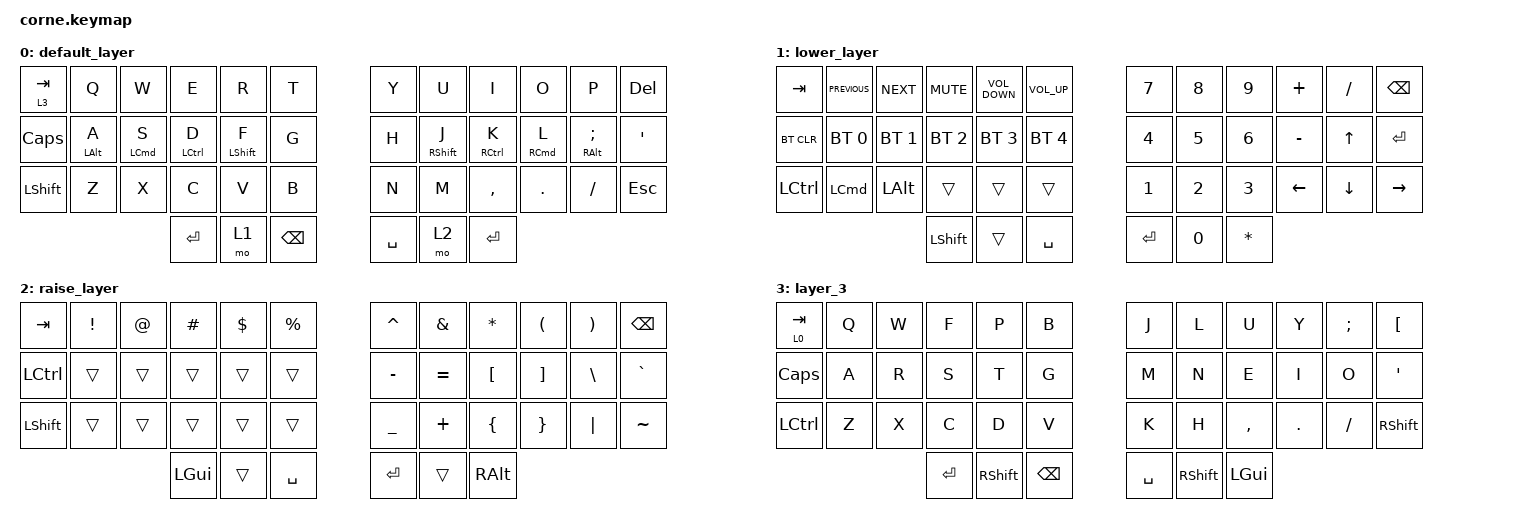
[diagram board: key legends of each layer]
/*
 * Copyright (c) 2020 The ZMK Contributors
 *
 * SPDX-License-Identifier: MIT
 */

#include <behaviors.dtsi>
#include <dt-bindings/zmk/bt.h>
#include <dt-bindings/zmk/keys.h>

/ {
    behaviors {
        hml: hml {
            compatible = "zmk,behavior-hold-tap";
            label = "HML";
            bindings = <&kp>, <&kp>;

            #binding-cells = <2>;
            tapping-term-ms = <200>;
            flavor = "balanced";
        };

        LayerHold: LayerHold {
            compatible = "zmk,behavior-hold-tap";
            label = "LAYERHOLD";
            bindings = <&to>, <&kp>;

            #binding-cells = <2>;
            tapping-term-ms = <200>;
            flavor = "tap-preferred";
        };
    };

    keymap {
        compatible = "zmk,keymap";

        default_layer {
            // -----------------------------------------------------------------------------------------
            // |  TAB |  Q  |  W  |  E  |  R  |  T  |   |  Y  |  U   |  I  |  O  |  P  | BKSP |
            // | CTRL |  A  |  S  |  D  |  F  |  G  |   |  H  |  J   |  K  |  L  |  ;  |  '   |
            // | SHFT |  Z  |  X  |  C  |  V  |  B  |   |  N  |  M   |  ,  |  .  |  /  | ESC  |
            //                    | GUI | LWR | SPC |   | ENT | RSE  | ALT |

            bindings = <
&LayerHold 3 TAB  &kp Q            &kp W                &kp E                &kp R              &kp T            &kp Y      &kp U          &kp I                 &kp O                 &kp P                     &kp DELETE
&kp CAPSLOCK      &hml LEFT_ALT A  &hml LEFT_COMMAND S  &hml LEFT_CONTROL D  &hml LEFT_SHIFT F  &kp G            &kp H      &hml RSHIFT J  &hml RIGHT_CONTROL K  &hml RIGHT_COMMAND L  &hml RIGHT_ALT SEMICOLON  &kp SQT
&kp LSHFT         &kp Z            &kp X                &kp C                &kp V              &kp B            &kp N      &kp M          &kp COMMA             &kp DOT               &kp FSLH                  &kp ESC
                                                        &kp ENTER            &mo 1              &kp BACKSPACE    &kp SPACE  &mo 2          &kp ENTER
            >;
        };

        lower_layer {
            // -----------------------------------------------------------------------------------------
            // |  TAB |  1  |  2  |  3  |  4  |  5  |   |  6  |  7  |  8  |  9  |  0  | BKSP |
            // | BTCLR| BT1 | BT2 | BT3 | BT4 | BT5 |   | LFT | DWN |  UP | RGT |     |      |
            // | SHFT |     |     |     |     |     |   |     |     |     |     |     |      |
            //                    | GUI |     | SPC |   | ENT |     | ALT |

            bindings = <
&kp TAB           &kp K_PREVIOUS    &kp K_NEXT    &kp K_MUTE      &kp C_VOLUME_DOWN  &kp C_VOLUME_UP    &kp N7        &kp N8        &kp N9        &kp PLUS   &kp SLASH     &kp BSPC
&bt BT_CLR        &bt BT_SEL 0      &bt BT_SEL 1  &bt BT_SEL 2    &bt BT_SEL 3       &bt BT_SEL 4       &kp NUMBER_4  &kp N5        &kp NUMBER_6  &kp MINUS  &kp UP_ARROW  &kp ENTER
&kp LEFT_CONTROL  &kp LEFT_COMMAND  &kp LEFT_ALT  &trans          &trans             &trans             &kp NUMBER_1  &kp NUMBER_2  &kp NUMBER_3  &kp LEFT   &kp DOWN      &kp RIGHT
                                                  &kp LEFT_SHIFT  &trans             &kp SPACE          &kp RET       &kp N0        &kp ASTERISK
            >;
        };

        raise_layer {
            // -----------------------------------------------------------------------------------------
            // |  TAB |  !  |  @  |  #  |  $  |  %  |   |  ^  |  &  |  *  |  (  |  )  | BKSP |
            // | CTRL |     |     |     |     |     |   |  -  |  =  |  [  |  ]  |  \  |  `   |
            // | SHFT |     |     |     |     |     |   |  _  |  +  |  {  |  }  | "|" |  ~   |
            //                    | GUI |     | SPC |   | ENT |     | ALT |

            bindings = <
&kp TAB    &kp EXCL  &kp AT  &kp HASH  &kp DLLR  &kp PRCNT    &kp CARET  &kp AMPS   &kp ASTRK  &kp LPAR  &kp RPAR  &kp BSPC
&kp LCTRL  &trans    &trans  &trans    &trans    &trans       &kp MINUS  &kp EQUAL  &kp LBKT   &kp RBKT  &kp BSLH  &kp GRAVE
&kp LSHFT  &trans    &trans  &trans    &trans    &trans       &kp UNDER  &kp PLUS   &kp LBRC   &kp RBRC  &kp PIPE  &kp TILDE
                             &kp LGUI  &trans    &kp SPACE    &kp RET    &trans     &kp RALT
            >;
        };

        layer_3 {
            bindings = <
&LayerHold 0 TAB  &kp Q  &kp W  &kp F      &kp P      &kp B       &kp J      &kp L      &kp U      &kp Y    &kp SEMI  &kp LBKT
&kp CAPS          &kp A  &kp R  &kp S      &kp T      &kp G       &kp M      &kp N      &kp E      &kp I    &kp O     &kp APOS
&kp LEFT_CONTROL  &kp Z  &kp X  &kp C      &kp D      &kp V       &kp K      &kp H      &kp COMMA  &kp DOT  &kp FSLH  &kp RSHFT
                                &kp ENTER  &kp RSHFT  &kp BSPC    &kp SPACE  &kp RSHFT  &kp LGUI
            >;
        };
    };
};
